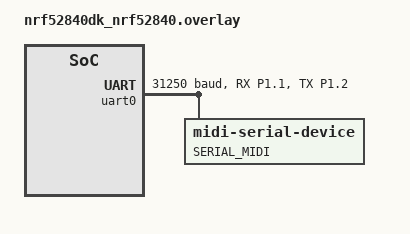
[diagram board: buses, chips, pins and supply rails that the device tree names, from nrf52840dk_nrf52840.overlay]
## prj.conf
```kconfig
# Enable DK LED and Buttons library
CONFIG_DK_LIBRARY=y
CONFIG_GPIO=y

# Config logger
CONFIG_LOG=y
CONFIG_USE_SEGGER_RTT=y
CONFIG_LOG_BACKEND_RTT=y
CONFIG_LOG_BACKEND_UART=n


CONFIG_USB_DRIVER_LOG_LEVEL_DBG=y
CONFIG_USB_DEVICE_LOG_LEVEL_DBG=y

CONFIG_ASSERT=y

#USB related configs
# CONFIG_USB_DEVICE_DRIVER=y
CONFIG_USB_DEVICE_STACK=y
CONFIG_USB_DEVICE_PRODUCT="Zephyr USB MIDI sample"

#net buf options
CONFIG_NET_BUF=y
# CONFIG_NET_BUF_USER_DATA_SIZE=0

CONFIG_USB_DEVICE_MIDI=y

CONFIG_HEAP_MEM_POOL_SIZE=512

CONFIG_MIDI=y
CONFIG_MIDI_SERIAL=y
CONFIG_MIDI_PARSER=y

# Enable the UART driver
CONFIG_UART_ASYNC_API=y
CONFIG_NRFX_UARTE0=y
CONFIG_SERIAL=y
```

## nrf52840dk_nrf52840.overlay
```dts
/*
 * Copyright (c) 2019 Nordic Semiconductor ASA
 *
 * SPDX-License-Identifier: Apache-2.0
 */

&zephyr_udc0 {
	midi_device {
		compatible = "usb-midi-device";
		label = "USB_MIDI";

		midi_interface_1 {
			compatible = "usb-midi-interface";
			index = <1>;
			setting_0 {
				compatible = "usb-midi-setting";
				revision = "MIDI 1.0";
				index = <0>;

				jack_1: jack_1 {
					label = "USB_MIDI_IN";
					compatible = "usb-midi-jack-pair";
					type-out = "EXTERNAL";
					type-in = "EMBEDDED";
					id-out = <4>;
					id-in = <1>;
				};

				jack_2: jack_2 {
					label = "USB_MIDI_OUT";
					compatible = "usb-midi-jack-pair";
					type-out = "EMBEDDED";
					type-in = "EXTERNAL";
					id-out = <3>;
					id-in = <2>;
				};
		
				ep_out_1: endpoint_out_1 {
					compatible = "usb-midi-endpoint";
					direction = "OUT";
					type = "BULK";
					ep-num = <1>;
					assoc-entities = <&jack_1>;
					
				};
		
				ep_in_1: endpoint_in_1 {
					compatible = "usb-midi-endpoint";
					direction = "IN";
					type = "BULK";
					ep-num = <1>;
					assoc-entities = <&jack_2>;
				};
			};
			
			setting_1 {
				compatible = "usb-midi-setting";
				revision = "MIDI 2.0";
				index = <1>;

				ep_out_2: endpoint_out_2 {
					compatible = "usb-midi-endpoint";
					direction = "OUT";
					type = "BULK";
					ep-num = <5>;
					assoc-entities = <&gt_1>;
					
				};
		
				ep_in_2: endpoint_in_2 {
					compatible = "usb-midi-endpoint";
					direction = "IN";
					type = "INTERRUPT";
					ep-num = <5>;
					assoc-entities = <&gt_1>;
					interval = <1>;
				};
		
				gt_1: gt_1 {
					compatible = "usb-midi-group-terminal-block";
					id = <1>;
					type = "IN-OUT";
					group-terminal = <0>;
					num-group-terminals = <1>;
					protocol = "UNKNOWN";
					in-bandwidth = <1>;
				};
			};
		};
	};
};

&pinctrl {
	uart0_default: uart0_default {
		group1 {
			psels = <NRF_PSEL(UART_RX, 1, 1)>;
			bias-pull-up;
		};
		group2 {
			psels = <NRF_PSEL(UART_TX, 1, 2)>;
		};
	};

	uart0_sleep: uart0_sleep {
		group1 {
			psels = <NRF_PSEL(UART_RX, 1, 1)>,
				<NRF_PSEL(UART_TX, 1, 2)>;
			low-power-enable;
		};
	};
};

&uart0 {
	current-speed = <31250>;
    pinctrl-0 = <&uart0_default>;
	pinctrl-1 = <&uart0_sleep>;
    midi_serial_device {
        label = "SERIAL_MIDI";
        compatible = "midi-serial-device";
        midi_serial_in_device{
            compatible = "midi-serial-in-device";
            label = "SERIAL_MIDI_IN";
        };
    
        midi_serial_out_device{
            compatible = "midi-serial-out-device";
            label = "SERIAL_MIDI_OUT";
            handle-timestamps;
        };
    };

};
```

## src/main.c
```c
#include <zephyr/types.h>
// #include <zephyr.h>
#include <zephyr/device.h>
#include <soc.h>

#include <dk_buttons_and_leds.h>
#include <zephyr/usb/usb_device.h>
#include <usb/class/usb_midi.h>
#include <midi/midi.h>
#include <midi/midi_parser.h>

#include <zephyr/logging/log.h>

#define LOG_MODULE_NAME USB_midi
LOG_MODULE_REGISTER(LOG_MODULE_NAME);

#define RUN_STATUS_LED DK_LED1
#define RUN_LED_BLINK_INTERVAL 1000

const struct device *usb_midi_in_dev;
const struct device *usb_midi_out_dev;
const struct device *serial_midi_in_dev;
const struct device *serial_midi_out_dev;

DEFINE_MIDI_PARSER_SERIAL(serial_parser);
DEFINE_MIDI_PARSER_SERIAL(usb_serial_parser);

static int midi_serial_sent(const struct device *dev,
			  midi_msg_t *msg,
			  void *user_data)
{
	LOG_INF("MIDI SERIAL sent!");
	
	midi_msg_unref(msg);

	return 0;
}

static int midi_serial_received(const struct device *dev,
			  midi_msg_t *msg,
			  void *user_data)
{
	midi_msg_t *parsed_msg = midi_parse_serial(msg, &serial_parser);
	midi_msg_unref(msg);

	if (parsed_msg) {
		LOG_HEXDUMP_INF(parsed_msg->data, parsed_msg->len, "parsed:");
		midi_send(usb_midi_out_dev, parsed_msg);
	}
	return 0;
}

static int midi_usb_sent(const struct device *dev,
			  midi_msg_t *msg,
			  void *user_data)
{

	if (!msg) {
		/* This should never happen */
		return -EINVAL;
	}

	LOG_INF("MIDI sent! mhm");

	midi_msg_unref(msg);

	return 0;
}

static int midi_usb_received(const struct device *dev,
			  midi_msg_t *msg,
			  void *user_data)
{
	midi_msg_t *parsed_msg = NULL;
	midi_msg_t * serial_msg;
	uint8_t pos = 1;

	if (!msg) {
		/* This should never happen */
		return -EINVAL;
	}
	LOG_HEXDUMP_INF(msg->data, msg->len, "main:");
	
	while(!parsed_msg) {
		serial_msg = midi_msg_alloc(NULL, 1);
        memcpy(serial_msg->data, (void*)(msg->data + pos), 1);
        serial_msg->format = MIDI_FORMAT_1_0_SERIAL;
        serial_msg->len = 1;
        parsed_msg = midi_parse_serial(serial_msg, &usb_serial_parser);
        midi_msg_unref(serial_msg);
		pos++;
        // if (parsed_msg) {
        //     return parsed_msg;
        // }
	}
	midi_msg_unref(msg);
	// midi_msg_unref(parsed_msg);
	LOG_HEXDUMP_INF(parsed_msg->data, parsed_msg->len, "parsed_msg:");
	midi_send(serial_midi_out_dev, parsed_msg);
	return 0;
}

const struct device * get_port(const char* name, 
			midi_transfer cb, void *user_data)
{
	int err;
	const struct device * dev;
	dev = device_get_binding(name);
	if (!dev) {
		LOG_ERR("Can not get device: %s", name);
	}
	err = midi_callback_set(dev, cb, user_data);
	if (err != 0) {
		LOG_ERR("Can not set callbacks for device: %s", name);
	}
	return dev;
}

void main(void)
{
	int blink_status = 0;
	int err;
	const struct device *usb_midi_dev;

	serial_midi_in_dev = get_port("SERIAL_MIDI_IN", 
		midi_serial_received, NULL);

	
	serial_midi_out_dev = get_port("SERIAL_MIDI_OUT", 
		midi_serial_sent, NULL);

	
	usb_midi_dev = device_get_binding("USB_MIDI");
	if (!usb_midi_dev) {
		LOG_ERR("Can not get USB MIDI Device");
		return;
	}

	usb_midi_in_dev = get_port("USB_MIDI_IN", 
		midi_usb_received, NULL);

	
	usb_midi_out_dev = get_port("USB_MIDI_OUT", 
		midi_usb_sent, NULL);


	// usb_midi_register(usb_midi_dev, &ops);
	
	err = usb_enable(NULL);
	if (err != 0) {
		LOG_ERR("Failed to enable USB");
		return;
	}

	// LOG_INF("USB enabled");

	err = dk_leds_init();
	if (err) {
		LOG_ERR("Cannot init LEDs (err: %d)", err);
	}

	test_func();

	for (;;) {
		dk_set_led(RUN_STATUS_LED, (++blink_status) % 2);
		k_sleep(K_MSEC(RUN_LED_BLINK_INTERVAL));
	}
}
```
